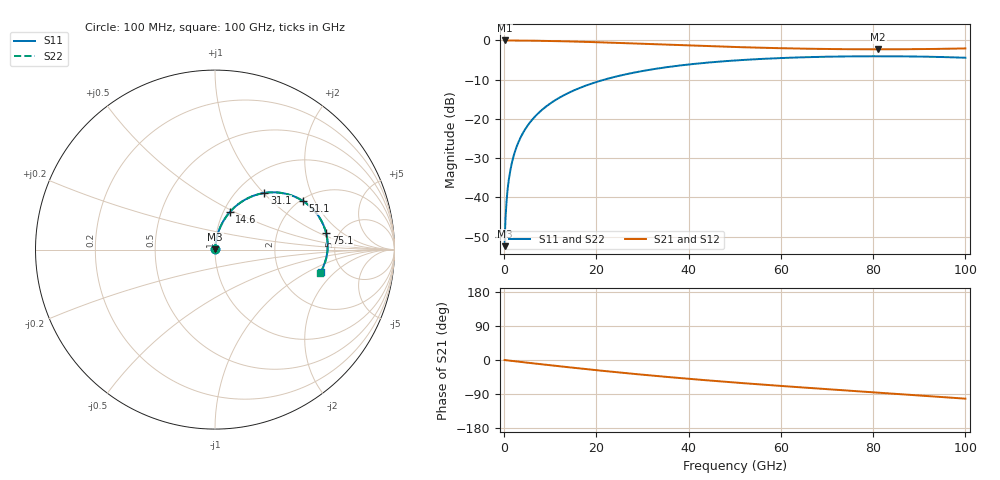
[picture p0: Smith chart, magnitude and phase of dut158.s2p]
! Touchstone file exported from HFSS 2026.1.0
!  File:  C:/ffzhzh/LocalFiles/Ansys_Project_Files/temp_train_RDL_158_1783500018_44152.aedt
!  Generated:  04:41:22 PM Jul  8, 2026
!  Design:  RDL
!  Project:  temp_train_RDL_158_1783500018_44152
! Variables:
!  h_bsmrdl = 2um
!  h_ox = 20um
!  h_rdl = 5um
!  h_sub = 80um
!  h_tmrdl = 3.74um
!  h_tsv = 80um
!  h_via = 3um
!  l_bsmrdl = 300um
!  l_sub = 727.37um
!  l_tmrdl = 327.37um
!  m_sub = 200um
!  pitch = 58.28um
!  r_tsv = 6um
!  s_tmrdl = 10um
!  w_bsmrdl = 18um
!  w_sub = 500um
!  w_tmrdl = 21.29um
!  x_tsv_center1 = 338.015um
!  x_tsv_center2 = 656.015um
!  x_tsv_center3 = 1004.675um
!  x_tsv_center4 = 1322.675um
!  x_tsv_center5 = 1671.335um
!  x_tsv_center6 = 1989.335um
# GHz S MA R 50.000000
! Terminal data exported
! Port[1] = TM_RDL1_1_T1
! Port[2] = TM_RDL1_1_T2
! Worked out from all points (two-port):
!   1000 points, 100 MHz to 100 GHz, reference 50 ohm
!   highest |S21| = -0.01 dB at 100 MHz (marker M1); lowest = -2.3 dB at 81.1 GHz (marker M2)
!   |S21| within 3 dB of the highest: start of sweep to end of sweep
!   lowest |S11| = -52.4 dB at 100 MHz (marker M3), VSWR 1.00, Z = 50.2 + j0.175 ohm
!   |S11| at or under -10 dB: start of sweep to 21.71 GHz
!   |S22| runs from -52.4 to -4.0 dB; largest |S21 - S12| = 3.4e-15
!   S11 on the Smith chart (normalised r, x): 100 MHz: 1.00, +0.00; 14.6 GHz: 1.07, +0.47; 31.1 GHz: 1.32, +1.01; 51.1 GHz: 2.06, +1.63; 75.1 GHz: 3.96, +1.20; 100 GHz: 3.44, -1.35
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0.1  0.002395 46.6  0.9984 -0.1  0.9984 -0.1  0.002395 46.6
! Gamma 0 0 0 0
! Port Impedance 50 0 50 0
0.8  0.01339 80.3  0.9979 -1.1  0.9979 -1.1  0.01339 80.3
1  0.01661 81.5  0.9978 -1.4  0.9978 -1.4  0.01661 81.5
1.3  0.02146 82.5  0.9977 -1.8  0.9977 -1.8  0.02146 82.5
1.7  0.02793 83.1  0.9974 -2.4  0.9974 -2.4  0.02793 83.1
2.2  0.03602 83.2  0.9971 -3.1  0.9971 -3.1  0.03602 83.2
3.5  0.05695 82.4  0.9957 -4.9  0.9957 -4.9  0.05695 82.4
5.4  0.08707 80.2  0.9929 -7.6  0.9929 -7.6  0.08707 80.2
7.8  0.1242 77.2  0.9881 -10.9  0.9881 -10.9  0.1242 77.2
10.9  0.1706 73.3  0.9803 -15.1  0.9803 -15.1  0.1706 73.2
14.6  0.2235 68.6  0.9689 -20.0  0.9689 -20.0  0.2235 68.5
16.8  0.2535 65.8  0.9611 -22.8  0.9611 -22.8  0.2535 65.8
23.3  0.3352 57.9  0.9351 -30.9  0.9351 -30.9  0.3352 57.9
31.1  0.4183 49.0  0.9007 -40.0  0.9007 -40.0  0.4183 48.9
33.4  0.4397 46.5  0.8905 -42.6  0.8905 -42.6  0.4397 46.4
50.1  0.5553 29.8  0.8237 -59.5  0.8237 -59.5  0.5554 29.7
51.1  0.5603 28.9  0.8204 -60.4  0.8204 -60.4  0.5603 28.8
66.7  0.6136 15.3  0.7819 -74.2  0.7819 -74.2  0.6136 15.2
75.1  0.626 8.4  0.7721 -81.2  0.7721 -81.2  0.626 8.2
81.1  0.6284 3.6  0.7701 -86.1  0.7701 -86.1  0.6284 3.3
83.4  0.628 1.7  0.7704 -88.0  0.7704 -88.0  0.628 1.5
100  0.6013 -12.0  0.7901 -102.0  0.7901 -102.0  0.6014 -12.3
